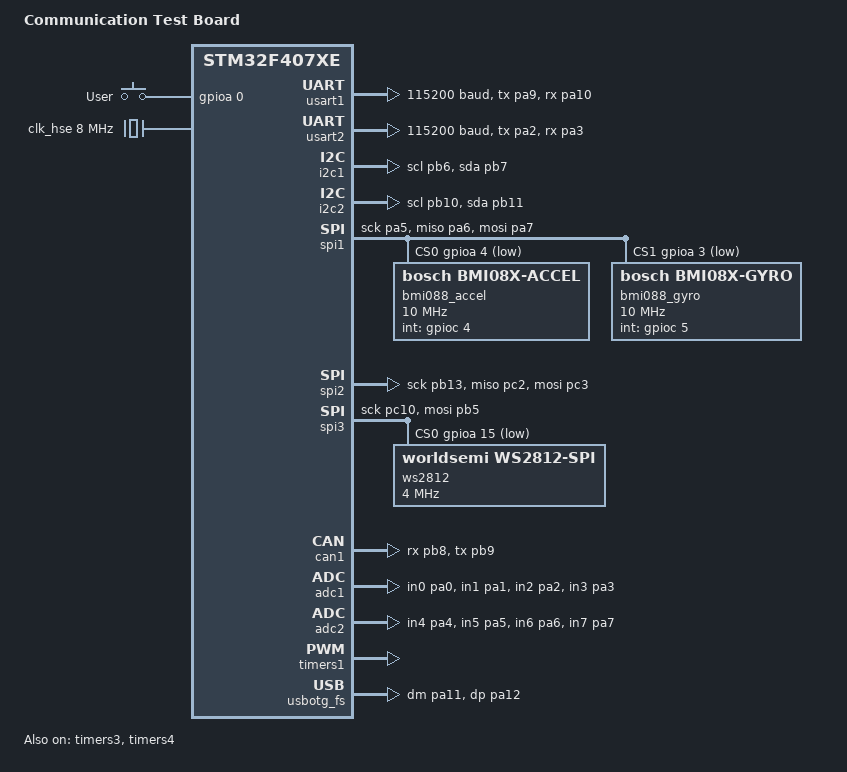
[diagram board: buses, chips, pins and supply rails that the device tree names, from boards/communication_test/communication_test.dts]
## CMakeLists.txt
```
# SPDX-License-Identifier: Apache-2.0

cmake_minimum_required(VERSION 3.20.0)

set(BOARD_ROOT ${CMAKE_CURRENT_SOURCE_DIR})
find_package(Zephyr REQUIRED HINTS $ENV{ZEPHYR_BASE})
project(hello_world LANGUAGES C CXX)

find_program(FLATC_EXECUTABLE flatc REQUIRED)

set(GENERATED_DIR ${CMAKE_BINARY_DIR}/generated)
file(MAKE_DIRECTORY ${GENERATED_DIR})

file(GLOB FBS_SCHEMAS schemas/*.fbs)
set(GENERATED_HEADERS)
foreach(fbs ${FBS_SCHEMAS})
    get_filename_component(name ${fbs} NAME_WE)
    list(APPEND GENERATED_HEADERS ${GENERATED_DIR}/${name}_generated.h)
endforeach()

add_custom_command(
    OUTPUT ${GENERATED_HEADERS}
    COMMAND ${FLATC_EXECUTABLE} --cpp --gen-mutable --scoped-enums
            -o ${GENERATED_DIR}
            ${FBS_SCHEMAS}
    DEPENDS ${FBS_SCHEMAS}
    WORKING_DIRECTORY ${CMAKE_SOURCE_DIR}
    COMMENT "Generating FlatBuffers headers"
)
add_custom_target(generate_fbs_headers DEPENDS ${GENERATED_HEADERS})
add_dependencies(app generate_fbs_headers)

file(GLOB_RECURSE app_sources src/*.cpp src/*.c)
target_sources(app PRIVATE ${app_sources})
target_include_directories(app PRIVATE
    src
    ${CMAKE_CURRENT_SOURCE_DIR}/../deps/fmt/include
    ${CMAKE_CURRENT_SOURCE_DIR}/../deps/flatbuffers/include
    ${GENERATED_DIR}
)

# fmt header-only + 嵌入式体积优化
target_compile_definitions(app PRIVATE
    FMT_HEADER_ONLY=1
    FMT_EXCEPTIONS=0
    FMT_USE_LONG_DOUBLE=0
    FMT_USE_INT128=0
    FMT_USE_WCHAR=0           # 嵌入式 libc++ 无 std::wstring
    FMT_OPTIMIZE_SIZE=2       # 禁用 locale + 体积优化
)

# Additional compiler flags
target_compile_options(app PRIVATE
    -fno-math-errno               # 省掉数学函数 errno 检查
    -Wno-deprecated-declarations  # emio uses aligned_storage_t (deprecated in C++23)
    -Wno-c23-extensions           # Zephyr USB driver label-before-declaration
)
```

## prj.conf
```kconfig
CONFIG_CPP=y
CONFIG_STD_CPP23=y
CONFIG_MAIN_STACK_SIZE=8192
CONFIG_ISR_STACK_SIZE=4096
CONFIG_REQUIRES_FULL_LIBCPP=y
CONFIG_PICOLIBC=y
CONFIG_CPP_RTTI=n
CONFIG_CPP_EXCEPTIONS=n

CONFIG_CONSOLE=y
CONFIG_USE_SEGGER_RTT=y
CONFIG_RTT_CONSOLE=y
CONFIG_UART_CONSOLE=n

# CONFIG_SPEED_OPTIMIZATIONS=y
# CONFIG_COMPILER_OPT="-O3"
# CONFIG_LTO=y
CONFIG_ISR_TABLES_LOCAL_DECLARATION=y
CONFIG_HW_STACK_PROTECTION=y

CONFIG_COMMON_LIBC_MALLOC_ARENA_SIZE=0
```

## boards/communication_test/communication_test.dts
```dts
/*
 * SPDX-License-Identifier: Apache-2.0
 */

/dts-v1/;
#include <st/f4/stm32f407Xe.dtsi>
#include <st/f4/stm32f407v(e-g)tx-pinctrl.dtsi>
#include <zephyr/dt-bindings/input/input-event-codes.h>
#include <zephyr/dt-bindings/led/led.h>

/ {
	model = "Communication Test Board";
	compatible = "communication-test";

	chosen {
		zephyr,console = &usart1;
		zephyr,shell-uart = &usart1;
		zephyr,sram = &sram0;
		zephyr,flash = &flash0;
		zephyr,dtcm = &ccm0;
		zephyr,led-strip = &ws2812;
	};

	gpio_keys {
		compatible = "gpio-keys";

		user_button: button {
			label = "User";
			gpios = <&gpioa 0 GPIO_ACTIVE_HIGH>;
			zephyr,code = <INPUT_KEY_0>;
		};
	};

	aliases {
		sw0 = &user_button;
		zephyr-usbbus = &usbotg_fs;
		zephyr-watchdog = &iwdg;
		zephyr-spi1 = &spi1;
		zephyr-spi2 = &spi2;
		zephyr-i2c1 = &i2c1;
		zephyr-i2c2 = &i2c2;
		zephyr-uart1 = &usart1;
		zephyr-uart2 = &usart2;
		zephyr-can1 = &can1;
		zephyr-adc1 = &adc1;
		zephyr-adc2 = &adc2;
		zephyr-imu0-accel = &bmi088_accel;
		zephyr-imu0-gyro = &bmi088_gyro;
		zephyr-pwm-motor = &timers1_pwm;
		zephyr-qdec0 = &qdec0;
		zephyr-qdec1 = &qdec1;
	};
};

/* HSE — 8 MHz crystal (typical for STM32F407 boards) */
&clk_hse {
	clock-frequency = <DT_FREQ_M(8)>;
	status = "okay";
};

&pll {
	div-m = <8>;
	mul-n = <336>;
	div-p = <2>;
	div-q = <7>;
	clocks = <&clk_hse>;
	status = "okay";
};

&rcc {
	clocks = <&pll>;
	clock-frequency = <DT_FREQ_M(168)>;
	ahb-prescaler = <1>;
	apb1-prescaler = <4>;
	apb2-prescaler = <2>;
};

/* ── USART ──────────────────────────────────────────────────────────────── */

/* USART1 — console (PA9/PA10) */
&usart1 {
	pinctrl-0 = <&usart1_tx_pa9 &usart1_rx_pa10>;
	pinctrl-names = "default";
	current-speed = <115200>;
	status = "okay";
};

/* USART2 — additional UART (PA2/PA3) */
&usart2 {
	pinctrl-0 = <&usart2_tx_pa2 &usart2_rx_pa3>;
	pinctrl-names = "default";
	current-speed = <115200>;
	status = "okay";
};

/* ── I2C ────────────────────────────────────────────────────────────────── */

/* I2C1 (PB6/PB7) */
&i2c1 {
	pinctrl-0 = <&i2c1_scl_pb6 &i2c1_sda_pb7>;
	pinctrl-names = "default";
	status = "okay";
};

/* I2C2 (PB10/PB11) */
&i2c2 {
	pinctrl-0 = <&i2c2_scl_pb10 &i2c2_sda_pb11>;
	pinctrl-names = "default";
	status = "okay";
};

/* ── SPI ────────────────────────────────────────────────────────────────── */

/* SPI1 (PA5/PA6/PA7) — BMI088 accel + gyro */
&spi1 {
	pinctrl-0 = <&spi1_sck_pa5 &spi1_miso_pa6 &spi1_mosi_pa7>;
	pinctrl-names = "default";
	cs-gpios = <&gpioa 4 GPIO_ACTIVE_LOW   /* accel CS */
		    &gpioa 3 GPIO_ACTIVE_LOW>;  /* gyro CS  */
	status = "okay";

	bmi088_accel: bmi088-accel@0 {
		compatible = "bosch,bmi08x-accel";
		reg = <0>;
		spi-max-frequency = <DT_FREQ_M(10)>;
		accel-fs = <16>;
		accel-hz = "1600";
		int-gpios = <&gpioc 4 GPIO_ACTIVE_HIGH>;
	};

	bmi088_gyro: bmi088-gyro@1 {
		compatible = "bosch,bmi08x-gyro";
		reg = <1>;
		spi-max-frequency = <DT_FREQ_M(10)>;
		gyro-fs = <2000>;
		gyro-hz = "2000_532";
		int-gpios = <&gpioc 5 GPIO_ACTIVE_HIGH>;
	};
};

/* SPI2 (PB13/PC2/PC3) */
&spi2 {
	pinctrl-0 = <&spi2_sck_pb13 &spi2_miso_pc2 &spi2_mosi_pc3>;
	pinctrl-names = "default";
	status = "okay";
};

/* SPI3 — WS2812 LED strip (MOSI only via PB5) */
&spi3 {
	pinctrl-0 = <&spi3_sck_pc10 &spi3_mosi_pb5>;
	pinctrl-names = "default";
	cs-gpios = <&gpioa 15 GPIO_ACTIVE_LOW>;
	status = "okay";

	ws2812: ws2812@0 {
		reg = <0>;
		compatible = "worldsemi,ws2812-spi";
		chain-length = <1>;
		color-mapping = <LED_COLOR_ID_GREEN
				 LED_COLOR_ID_RED
				 LED_COLOR_ID_BLUE>;
		spi-max-frequency = <DT_FREQ_M(4)>;
		reset-delay = <50>;
		spi-one-frame = <0x6>;
		spi-zero-frame = <0x4>;
		bits-per-symbol = <3>;
	};
};

/* ── CAN ────────────────────────────────────────────────────────────────── */

/* CAN1 (PB8/PB9) — moved from PA11/PA12 to avoid conflict with USB FS */
&can1 {
	pinctrl-0 = <&can1_rx_pb8 &can1_tx_pb9>;
	pinctrl-names = "default";
	status = "okay";
};

/* ── ADC ────────────────────────────────────────────────────────────────── */

/* ADC1 — 4 channels (PA0~PA3) */
&adc1 {
	pinctrl-0 = <&adc1_in0_pa0 &adc1_in1_pa1 &adc1_in2_pa2 &adc1_in3_pa3>;
	pinctrl-names = "default";
	st,adc-prescaler = <2>;
	status = "okay";
};

/* ADC2 — 4 channels (PA4~PA7) */
&adc2 {
	pinctrl-0 = <&adc2_in4_pa4 &adc2_in5_pa5 &adc2_in6_pa6 &adc2_in7_pa7>;
	pinctrl-names = "default";
	st,adc-prescaler = <2>;
	status = "okay";
};

/* ── Timers / PWM / QDEC ───────────────────────────────────────────────── */

/* TIM1 PWM — CH1 (PE9) + CH2 (PE11) */
&timers1 {
	status = "okay";

	timers1_pwm: pwm {
		pinctrl-0 = <&tim1_ch1_pe9 &tim1_ch2_pe11>;
		pinctrl-names = "default";
		status = "okay";
	};
};

/* TIM3 — Quadrature decoder (PC6/PC7) */
&timers3 {
	status = "okay";

	qdec0: qdec {
		pinctrl-0 = <&tim3_ch1_pc6 &tim3_ch2_pc7>;
		pinctrl-names = "default";
		st,counts-per-revolution = <65535>;
		st,encoder-mode = <0x3>;
		status = "okay";
	};
};

/* TIM4 — Quadrature decoder (PD12/PD13) */
&timers4 {
	status = "okay";

	qdec1: qdec {
		pinctrl-0 = <&tim4_ch1_pd12 &tim4_ch2_pd13>;
		pinctrl-names = "default";
		st,counts-per-revolution = <65535>;
		st,encoder-mode = <0x3>;
		status = "okay";
	};
};

/* ── USB ────────────────────────────────────────────────────────────────── */

/* USB OTG FS (PA11/PA12) */
zephyr_udc0: &usbotg_fs {
	pinctrl-0 = <&usb_otg_fs_dm_pa11 &usb_otg_fs_dp_pa12>;
	pinctrl-names = "default";
	status = "okay";
};

/* ── Watchdog ───────────────────────────────────────────────────────────── */
/* IWDG completely disabled */
/* &iwdg { status = "okay"; }; */
```

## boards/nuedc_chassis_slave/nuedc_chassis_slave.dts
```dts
/*
 * Copyright (c) 2018 Aurelien Jarno
 *
 * SPDX-License-Identifier: Apache-2.0
 */

/dts-v1/;
#include <st/f7/stm32f723Xe.dtsi>
#include <st/f7/stm32f723i(c-e)kx-pinctrl.dtsi>
#include <zephyr/dt-bindings/input/input-event-codes.h>
#include <zephyr/dt-bindings/led/led.h>

/ {
	model = "NUEDC CHASSIS SLAVE BOARD";
	compatible = "nuedc,chassis-slave";

	chosen {
		zephyr,console = &usart3;
		zephyr,shell-uart = &usart3;
		zephyr,sram = &sram0;
		zephyr,flash = &flash0;
		zephyr,led-strip = &ws2812;
	};

	// leds {

	// WS2812 LED strip - see &spi3 node below

	// leds {
	// 	compatible = "gpio-leds";

	// 	blue_led: led_1 {
	// 		gpios = <&gpioa 5 GPIO_ACTIVE_HIGH>;
	// 		label = "User LD1";
	// 	};

	// 	red_led: led_2 {
	// 		gpios = <&gpioa 7 GPIO_ACTIVE_HIGH>;
	// 		label = "User LD5";
	// 	};

	// 	green_led: led_3 {
	// 		gpios = <&gpiob 1 GPIO_ACTIVE_HIGH>;
	// 		label = "User LD6";
	// 	};
	// };

	gpio_keys {
		compatible = "gpio-keys";

		user_button: button {
			label = "User";
			gpios = <&gpioa 0 GPIO_ACTIVE_HIGH>;
			zephyr,code = <INPUT_KEY_0>;
		};
	};

	aliases {
		sw0 = &user_button;
		zephyr-usbbus = &usbotg_hs;
		zephyr-watchdog = &iwdg;
		zephyr-spi1 = &spi1;
		zephyr-spi2 = &spi2;
		zephyr-i2c1 = &i2c1;
		zephyr-i2c2 = &i2c2;
		zephyr-uart1 = &usart1;
		zephyr-uart2 = &usart2;
		zephyr-can1 = &can1;
		zephyr-adc1 = &adc1;
		zephyr-adc2 = &adc2;
		zephyr-imu0-accel = &bmi088_accel;
		zephyr-imu0-gyro = &bmi088_gyro;
		zephyr-pwm-motor = &timers1_pwm;
		zephyr-qdec0 = &qdec0;
		zephyr-qdec1 = &qdec1;
	};
};

&clk_hse {
	clock-frequency = <DT_FREQ_M(25)>;
	status = "okay";
};

&pll {
	div-m = <25>;
	mul-n = <432>;
	div-p = <2>;
	div-q = <9>;
	clocks = <&clk_hse>;
	status = "okay";
};

&rcc {
	clocks = <&pll>;
	clock-frequency = <DT_FREQ_M(216)>;
	ahb-prescaler = <1>;
	apb1-prescaler = <4>;
	apb2-prescaler = <2>;
};

&usart1 {
	pinctrl-0 = <&usart1_tx_pa9 &usart1_rx_pa10>;
	pinctrl-names = "default";
	current-speed = <115200>;
	dmas = <&dma2 7 4 STM32_DMA_PERIPH_TX STM32_DMA_FIFO_FULL>,
	       <&dma2 5 4 STM32_DMA_PERIPH_RX STM32_DMA_FIFO_FULL>;
	dma-names = "tx", "rx";
	status = "okay";
};

&usart2 {
	pinctrl-0 = <&usart2_tx_pa2 &usart2_rx_pa3>;
	pinctrl-names = "default";
	current-speed = <115200>;
	status = "okay";
};

&i2c1 {
	pinctrl-0 = <&i2c1_scl_pb6 &i2c1_sda_pb7>;
	pinctrl-names = "default";
	dmas = <&dma1 6 1 STM32_DMA_PERIPH_TX STM32_DMA_FIFO_FULL>,
	       <&dma1 5 1 STM32_DMA_PERIPH_RX STM32_DMA_FIFO_FULL>;
	dma-names = "tx", "rx";
	status = "okay";
};

&i2c2 {
	pinctrl-0 = <&i2c2_scl_pb10 &i2c2_sda_pb11>;
	pinctrl-names = "default";
	dmas = <&dma1 7 7 STM32_DMA_PERIPH_TX STM32_DMA_FIFO_FULL>,
	       <&dma1 2 7 STM32_DMA_PERIPH_RX STM32_DMA_FIFO_FULL>;
	dma-names = "tx", "rx";
	status = "okay";
};

&dma2 {
	status = "okay";
};

&dma1 {
	status = "okay";
};

&spi1 {
	pinctrl-0 = <&spi1_sck_pa5 &spi1_miso_pa6 &spi1_mosi_pa7>;
	pinctrl-names = "default";
	cs-gpios = <&gpioa 4 GPIO_ACTIVE_LOW    /* TODO: accel CS */
		    &gpioa 3 GPIO_ACTIVE_LOW>;   /* TODO: gyro CS */
	dmas = <&dma2 3 3 STM32_DMA_PERIPH_TX STM32_DMA_FIFO_FULL>,
	       <&dma2 0 3 STM32_DMA_PERIPH_RX STM32_DMA_FIFO_FULL>;
	dma-names = "tx", "rx";
	status = "okay";

	/* BMI088 加速度计 — 改 spi-max-frequency / reg / int-gpios */
	bmi088_accel: bmi088-accel@0 {
		compatible = "bosch,bmi08x-accel";
		reg = <0>;                          /* CS0 (spi-cs-gpios 第 0 个) */
		spi-max-frequency = <DT_FREQ_M(10)>;
		accel-fs = <16>;                    /* 满量程: 2/3/4/6/8/12/16/24 g */
		accel-hz = "1600";                   /* 采样率: 12.5~1600 Hz */
		int-gpios = <&gpioa 1 GPIO_ACTIVE_HIGH>;  /* TODO: 改成你实际的 INT 引脚 */
	};

	/* BMI088 陀螺仪 — 共用 SPI 总线，独立 CS */
	bmi088_gyro: bmi088-gyro@1 {
		compatible = "bosch,bmi08x-gyro";
		reg = <1>;                          /* CS1 (spi-cs-gpios 第 1 个) */
		spi-max-frequency = <DT_FREQ_M(10)>;
		gyro-fs = <2000>;                   /* 满量程: 125/250/500/1000/2000 dps */
		gyro-hz = "2000_532";               /* 采样率+带宽 */
		int-gpios = <&gpioa 2 GPIO_ACTIVE_HIGH>;  /* TODO: 改成你实际的 INT 引脚 */
	};
};

&spi2 {
	pinctrl-0 = <&spi2_sck_pd3 &spi2_miso_pc2 &spi2_mosi_pc1>;
	pinctrl-names = "default";
	dmas = <&dma1 4 0 STM32_DMA_PERIPH_TX STM32_DMA_FIFO_FULL>,
	       <&dma1 3 0 STM32_DMA_PERIPH_RX STM32_DMA_FIFO_FULL>;
	dma-names = "tx", "rx";
	status = "okay";
};

&usbphyc {
	status = "okay";
};

zephyr_udc0: &usbotg_hs {
	pinctrl-0 = <&usb_otg_hs_dm_pb14 &usb_otg_hs_dp_pb15>;
	pinctrl-names = "default";
	status = "okay";
};

&can1 {
	pinctrl-0 = <&can1_rx_pa11 &can1_tx_pa12>;
	pinctrl-names = "default";
	status = "okay";
};

&adc1 {
	pinctrl-0 = <&adc1_in0_pa0 &adc1_in1_pa1 &adc1_in2_pa2 &adc1_in3_pa3>;
	pinctrl-names = "default";
	st,adc-prescaler = <2>;
	dmas = <&dma2 4 0 STM32_DMA_PERIPH_RX STM32_DMA_FIFO_FULL>;
	dma-names = "rx";
	status = "okay";
};

&adc2 {
	pinctrl-0 = <&adc2_in4_pa4 &adc2_in5_pa5 &adc2_in6_pa6 &adc2_in7_pa7>;
	pinctrl-names = "default";
	st,adc-prescaler = <2>;
	dmas = <&dma2 2 1 STM32_DMA_PERIPH_RX STM32_DMA_FIFO_FULL>;
	dma-names = "rx";
	status = "okay";
};

&timers3 {
	status = "okay";

	qdec0: qdec {
		pinctrl-0 = <&tim3_ch1_pc6 &tim3_ch2_pc7>;
		pinctrl-names = "default";
		st,counts-per-revolution = <65535>;
		st,encoder-mode = <0x3>;
		status = "okay";
	};
};

&timers4 {
	status = "okay";

	qdec1: qdec {
		pinctrl-0 = <&tim4_ch1_pd12 &tim4_ch2_pd13>;
		pinctrl-names = "default";
		st,counts-per-revolution = <65535>;
		st,encoder-mode = <0x3>;
		status = "okay";
	};
};

/* SPI3 dedicated to WS2812 LED strip (MOSI only, SCK not connected to LED) */
&spi3 {
	pinctrl-0 = <&spi3_sck_pc10 &spi3_mosi_pb2>;  /* TODO: 改引脚 */
	pinctrl-names = "default";
	cs-gpios = <&gpioa 15 GPIO_ACTIVE_LOW>;  /* TODO: 任意空闲引脚，WS2812 不用 CS */
	dmas = <&dma1 5 0 STM32_DMA_PERIPH_TX STM32_DMA_FIFO_FULL>;
	dma-names = "tx";
	status = "okay";

	ws2812: ws2812@0 {
		reg = <0>;
		compatible = "worldsemi,ws2812-spi";
		chain-length = <1>;
		color-mapping = <LED_COLOR_ID_GREEN
				 LED_COLOR_ID_RED
				 LED_COLOR_ID_BLUE>;
		spi-max-frequency = <DT_FREQ_M(4)>;
		reset-delay = <50>;
		spi-one-frame = <0x6>;     /* 110b = WS2812 '1' at 4MHz */
		spi-zero-frame = <0x4>;    /* 100b = WS2812 '0' at 4MHz */
		bits-per-symbol = <3>;     /* 3 SPI bits per WS2812 bit */
	};
};

/* IWDG — 100ms timeout, configured via Kconfig */
&iwdg {
	status = "okay";
};

/* TIM1 PWM — CH1 (PE9) + CH2 (PE11) for motor control */
&timers1 {
	status = "okay";

	timers1_pwm: pwm {
		pinctrl-0 = <&tim1_ch1_pe9 &tim1_ch2_pe11>;
		pinctrl-names = "default";
		status = "okay";
	};
};
```

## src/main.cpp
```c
#include "util/log.hpp"
#include <zephyr/device.h>
#include <zephyr/kernel.h>

#include "peripheral/adc.hpp"
#include "peripheral/can.hpp"
#include "peripheral/i2c.hpp"
#include "peripheral/imu.hpp"
#include "peripheral/motor.hpp"
#include "peripheral/qdec.hpp"
#include "peripheral/spi.hpp"
#include "peripheral/status_led.hpp"
#include "peripheral/uart.hpp"
#include "usb/bulk_device.hpp"

static constexpr auto LOG = util::log::Logger { "main" };

// ── Peripheral instances (all via DT aliases) ──────────────────────────

// UART
static Uart uart0(DEVICE_DT_GET(DT_ALIAS(zephyr_uart1)), 0);
static Uart uart1(DEVICE_DT_GET(DT_ALIAS(zephyr_uart2)), 1);

// CAN
static Can can0(DEVICE_DT_GET(DT_ALIAS(zephyr_can1)), 0);

// IMU (BMI088 accel + gyro)
static IMU imu0(
    DEVICE_DT_GET(DT_ALIAS(zephyr_imu0_accel)), DEVICE_DT_GET(DT_ALIAS(zephyr_imu0_gyro)));

// SPI (raw, generic)
static Spi spi1(DEVICE_DT_GET(DT_ALIAS(zephyr_spi2)), 1);

// I2C
static I2c i2c0(DEVICE_DT_GET(DT_ALIAS(zephyr_i2c1)), 0);
static I2c i2c1(DEVICE_DT_GET(DT_ALIAS(zephyr_i2c2)), 1);

// ADC
static Adc adc0(DEVICE_DT_GET(DT_ALIAS(zephyr_adc1)), 0);
static Adc adc1(DEVICE_DT_GET(DT_ALIAS(zephyr_adc2)), 1);

// Quadrature encoders (1000Hz ISR-driven)
static Qdec qdec0(DEVICE_DT_GET(DT_ALIAS(zephyr_qdec0)), 0);
static Qdec qdec1(DEVICE_DT_GET(DT_ALIAS(zephyr_qdec1)), 1);

// Motors (PID velocity control, 1000Hz ISR-driven)
static constexpr Motor::Config MOTOR_CFG = {
    .pwm_period_ns = 50000, // 20kHz
    .output_min    = -1.0f,
    .output_max    = 1.0f,
    .vel_min       = -100.0f, // -100 rad/s
    .vel_max       = 100.0f,  // +100 rad/s
};
static Motor motor0(DEVICE_DT_GET(DT_ALIAS(zephyr_pwm_motor)), 0, qdec0, MOTOR_CFG);
static Motor motor1(DEVICE_DT_GET(DT_ALIAS(zephyr_pwm_motor)), 1, qdec1, MOTOR_CFG);

// USB bulk device
static BulkDevice bulk_dev;

// Status LED
static StatusLed status_led;

/// Check if any uplink ring buffer has data that isn't being drained.
static bool any_ringbuf_full() {
    static constexpr size_t THRESHOLD = 400;

    return can0.uplink_writer().readable() > THRESHOLD
        || uart0.uplink_writer().readable() > THRESHOLD
        || uart1.uplink_writer().readable() > THRESHOLD
        || imu0.uplink_writer().readable() > THRESHOLD
        || spi1.uplink_writer().readable() > THRESHOLD
        || adc0.uplink_writer().readable() > THRESHOLD
        || adc1.uplink_writer().readable() > THRESHOLD
        || qdec0.uplink_writer().readable() > THRESHOLD
        || qdec1.uplink_writer().readable() > THRESHOLD;
}

int main(void) {
    // LED 蓝色 — 初始化中
    status_led.init();

    LOG.info("NUEDC slave starting");

    // Init all peripherals
    uart0.init();
    uart1.init();
    can0.init();
    imu0.init();
    spi1.init();
    i2c0.init();
    i2c1.init();
    adc0.init();
    adc1.init();

    // Encoders + Motors
    qdec0.init();
    qdec1.init();
    motor0.init();
    motor1.init();

    // Init USB — register all peripherals
    Can* cans[]     = { &can0 };
    Uart* uarts[]   = { &uart0, &uart1 };
    Spi* spis[]     = { &spi1 };
    I2c* i2cs[]     = { &i2c0, &i2c1 };
    IMU* imus[]     = { &imu0 };
    Adc* adcs[]     = { &adc0, &adc1 };
    Qdec* qdecs[]   = { &qdec0, &qdec1 };
    Motor* motors[] = { &motor0, &motor1 };

    bulk_dev.set_cans(cans);
    bulk_dev.set_uarts(uarts);
    bulk_dev.set_spis(spis);
    bulk_dev.set_i2cs(i2cs);
    bulk_dev.set_imus(imus);
    bulk_dev.set_adcs(adcs);
    bulk_dev.set_qdecs(qdecs);
    bulk_dev.set_motors(motors);
    bulk_dev.init();

    // LED 绿色 — 正常运行
    status_led.set(StatusLed::State::Running);
    LOG.info("All peripherals initialized");

    while (true) {
        // IMU is interrupt-driven, no polling needed
        // adc0.poll();
        // adc1.poll();

        // Drain uplink → USB
        bulk_dev.try_transmit();

        // Drain downlink → hardware
        can0.try_transmit();
        uart0.try_transmit();
        uart1.try_transmit();

        // LED 状态更新
        status_led.report_ringbuf_status(any_ringbuf_full());
    }

    return 0;
}
```
